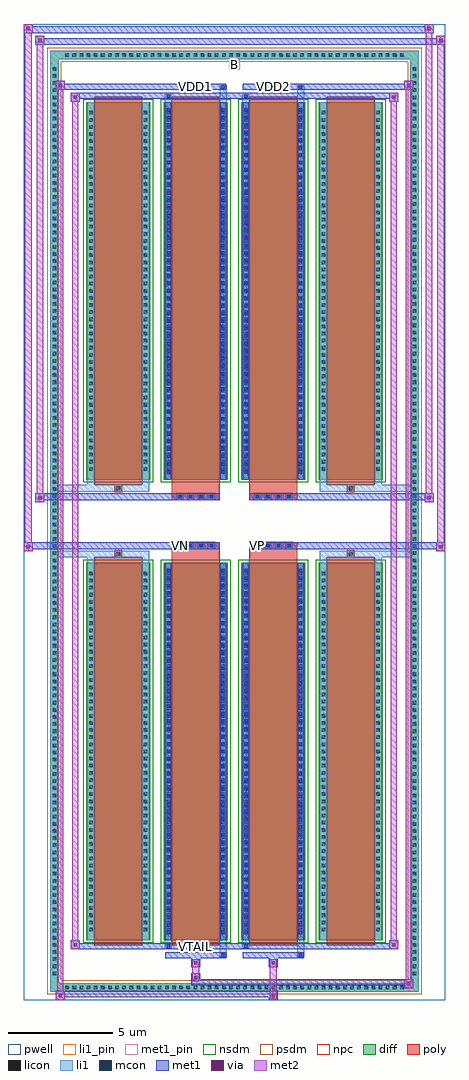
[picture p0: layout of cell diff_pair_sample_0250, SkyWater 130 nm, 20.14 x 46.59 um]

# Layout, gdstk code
import gdstk
lib = gdstk.Library(unit=1e-6, precision=5e-09)
def R(c, l, rs):  # rectangles x0, y0, x1, y1
    for r in rs: c.add(gdstk.rectangle(r[:2], r[2:], *l))
def A(c, l, x, y, w, h, nx, ny, dx, dy):  # array of equal rectangles
    R(c, l, [(x+i*dx, y+j*dy, x+i*dx+w, y+j*dy+h) for i in range(nx) for j in range(ny)])
def P(c, l, *ps):  # polygons
    for p in ps: c.add(gdstk.Polygon(p, *l))
pwell = (64, 44)
diff = (65, 20)
poly = (66, 20)
licon = (66, 44)
li1_pin = (67, 16)
li1 = (67, 20)
mcon = (67, 44)
met1_pin = (68, 16)
met1 = (68, 20)
via = (68, 44)
met2 = (69, 20)
nsdm = (93, 44)
psdm = (94, 20)
npc = (95, 20)

diff_pair_sample_0250 = lib.new_cell('diff_pair_sample_0250')
R(diff_pair_sample_0250, pwell, [(-10.07,-22.86,10.07,23.73), (-7.39,-21.05,-0.01,-0.805), (0.01,-21.05,7.39,-0.805), (-7.39,0.805,-0.01,21.05), (0.01,0.805,7.39,21.05)])
A(diff_pair_sample_0250, diff, -8.195, -22.46, 0.41, 0.41, 48, 2, 0.34, 44.51)
A(diff_pair_sample_0250, diff, -8.8, -21.795, 0.41, 0.41, 1, 128, 0, 0.34)
A(diff_pair_sample_0250, diff, 8.39, -21.795, 0.41, 0.41, 1, 128, 0, 0.34)
A(diff_pair_sample_0250, diff, -7.08, -20.005, 3.06, 18.02, 4, 2, 3.7, 21.99)
R(diff_pair_sample_0250, diff, [(-8.195,-22.46,8.195,-22.05), (-8.8,-21.795,-8.39,21.795), (8.39,-21.795,8.8,21.795), (-8.195,22.05,8.195,22.46)])
P(diff_pair_sample_0250, diff, [(8.8,22.46),(-8.8,22.46),(-8.8,-22.05),(-8.39,-22.05),(-8.39,22.05),(8.39,22.05),(8.39,-22.05),(-8.39,-22.05),(-8.8,-22.05),(-8.8,-22.46),(8.8,-22.46)])
A(diff_pair_sample_0250, poly, -6.69, -20.255, 2.28, 18.52, 4, 2, 3.7, 21.99)
A(diff_pair_sample_0250, poly, -2.765, -1.335, 0.33, 0.33, 4, 2, 0.5, 2.34)
A(diff_pair_sample_0250, poly, 0.935, -1.335, 0.33, 0.33, 4, 2, 0.5, 2.34)
R(diff_pair_sample_0250, poly, [(-5.715,-1.735,-5.385,-1.405), (-5.715,-1.735,-5.385,-1.405), (-2.99,-1.735,-0.71,-1.335), (0.71,-1.735,2.99,-1.335), (5.385,-1.735,5.715,-1.405), (5.385,-1.735,5.715,-1.405), (-2.99,-1.335,-0.71,-1.005), (0.71,-1.335,2.99,-1.005), (-2.99,1.005,-0.71,1.335), (0.71,1.005,2.99,1.335), (-2.99,1.335,-0.71,1.735), (0.71,1.335,2.99,1.735), (-5.715,1.405,-5.385,1.735), (-5.715,1.405,-5.385,1.735), (5.385,1.405,5.715,1.735), (5.385,1.405,5.715,1.735)])
A(diff_pair_sample_0250, licon, -8.075, -22.34, 0.17, 0.17, 48, 2, 0.34, 44.51)
A(diff_pair_sample_0250, licon, -8.68, -21.675, 0.17, 0.17, 1, 128, 0, 0.34)
A(diff_pair_sample_0250, licon, 8.51, -21.675, 0.17, 0.17, 1, 128, 0, 0.34)
A(diff_pair_sample_0250, licon, -6.94, -19.58, 0.17, 0.17, 1, 51, 0, 0.34)
A(diff_pair_sample_0250, licon, -4.33, -19.58, 0.17, 0.17, 1, 51, 0, 0.34)
A(diff_pair_sample_0250, licon, -3.24, -19.58, 0.17, 0.17, 1, 51, 0, 0.34)
A(diff_pair_sample_0250, licon, -0.63, -19.58, 0.17, 0.17, 1, 51, 0, 0.34)
A(diff_pair_sample_0250, licon, 0.46, -19.58, 0.17, 0.17, 1, 51, 0, 0.34)
A(diff_pair_sample_0250, licon, 3.07, -19.58, 0.17, 0.17, 1, 51, 0, 0.34)
A(diff_pair_sample_0250, licon, 4.16, -19.58, 0.17, 0.17, 1, 51, 0, 0.34)
A(diff_pair_sample_0250, licon, 6.77, -19.58, 0.17, 0.17, 1, 51, 0, 0.34)
A(diff_pair_sample_0250, licon, -2.685, -1.255, 0.17, 0.17, 4, 2, 0.5, 2.34)
A(diff_pair_sample_0250, licon, 1.015, -1.255, 0.17, 0.17, 4, 2, 0.5, 2.34)
A(diff_pair_sample_0250, licon, -6.94, 2.41, 0.17, 0.17, 1, 51, 0, 0.34)
A(diff_pair_sample_0250, licon, -4.33, 2.41, 0.17, 0.17, 1, 51, 0, 0.34)
A(diff_pair_sample_0250, licon, -3.24, 2.41, 0.17, 0.17, 1, 51, 0, 0.34)
A(diff_pair_sample_0250, licon, -0.63, 2.41, 0.17, 0.17, 1, 51, 0, 0.34)
A(diff_pair_sample_0250, licon, 0.46, 2.41, 0.17, 0.17, 1, 51, 0, 0.34)
A(diff_pair_sample_0250, licon, 3.07, 2.41, 0.17, 0.17, 1, 51, 0, 0.34)
A(diff_pair_sample_0250, licon, 4.16, 2.41, 0.17, 0.17, 1, 51, 0, 0.34)
A(diff_pair_sample_0250, licon, 6.77, 2.41, 0.17, 0.17, 1, 51, 0, 0.34)
R(diff_pair_sample_0250, licon, [(-5.635,-1.655,-5.465,-1.485), (5.465,-1.655,5.635,-1.485), (-5.635,1.485,-5.465,1.655), (5.465,1.485,5.635,1.655)])
R(diff_pair_sample_0250, li1_pin, [(-0.25,21.55,0.25,22.05)])
A(diff_pair_sample_0250, li1, -8.155, -22.42, 0.33, 0.33, 48, 2, 0.34, 44.51)
A(diff_pair_sample_0250, li1, -8.76, -21.755, 0.33, 0.33, 1, 128, 0, 0.34)
A(diff_pair_sample_0250, li1, 8.43, -21.755, 0.33, 0.33, 1, 128, 0, 0.34)
A(diff_pair_sample_0250, li1, -3.24, -19.72, 0.17, 0.17, 1, 49, 0, 0.36)
A(diff_pair_sample_0250, li1, -0.63, -19.72, 0.17, 0.17, 1, 49, 0, 0.36)
A(diff_pair_sample_0250, li1, 0.46, -19.72, 0.17, 0.17, 1, 49, 0, 0.36)
A(diff_pair_sample_0250, li1, 3.07, -19.72, 0.17, 0.17, 1, 49, 0, 0.36)
A(diff_pair_sample_0250, li1, -7.02, -19.66, 0.33, 0.33, 1, 51, 0, 0.34)
A(diff_pair_sample_0250, li1, -4.41, -19.66, 0.33, 0.33, 1, 51, 0, 0.34)
A(diff_pair_sample_0250, li1, -3.32, -19.66, 0.33, 0.33, 1, 51, 0, 0.34)
A(diff_pair_sample_0250, li1, -0.71, -19.66, 0.33, 0.33, 1, 51, 0, 0.34)
A(diff_pair_sample_0250, li1, 0.38, -19.66, 0.33, 0.33, 1, 51, 0, 0.34)
A(diff_pair_sample_0250, li1, 2.99, -19.66, 0.33, 0.33, 1, 51, 0, 0.34)
A(diff_pair_sample_0250, li1, 4.08, -19.66, 0.33, 0.33, 1, 51, 0, 0.34)
A(diff_pair_sample_0250, li1, 6.69, -19.66, 0.33, 0.33, 1, 51, 0, 0.34)
A(diff_pair_sample_0250, li1, -2.765, -1.335, 0.33, 0.33, 4, 2, 0.5, 2.34)
A(diff_pair_sample_0250, li1, 0.935, -1.335, 0.33, 0.33, 4, 2, 0.5, 2.34)
A(diff_pair_sample_0250, li1, -3.24, 2.27, 0.17, 0.17, 1, 49, 0, 0.36)
A(diff_pair_sample_0250, li1, -0.63, 2.27, 0.17, 0.17, 1, 49, 0, 0.36)
A(diff_pair_sample_0250, li1, 0.46, 2.27, 0.17, 0.17, 1, 49, 0, 0.36)
A(diff_pair_sample_0250, li1, 3.07, 2.27, 0.17, 0.17, 1, 49, 0, 0.36)
A(diff_pair_sample_0250, li1, -7.02, 2.33, 0.33, 0.33, 1, 51, 0, 0.34)
A(diff_pair_sample_0250, li1, -4.41, 2.33, 0.33, 0.33, 1, 51, 0, 0.34)
A(diff_pair_sample_0250, li1, -3.32, 2.33, 0.33, 0.33, 1, 51, 0, 0.34)
A(diff_pair_sample_0250, li1, -0.71, 2.33, 0.33, 0.33, 1, 51, 0, 0.34)
A(diff_pair_sample_0250, li1, 0.38, 2.33, 0.33, 0.33, 1, 51, 0, 0.34)
A(diff_pair_sample_0250, li1, 2.99, 2.33, 0.33, 0.33, 1, 51, 0, 0.34)
A(diff_pair_sample_0250, li1, 4.08, 2.33, 0.33, 0.33, 1, 51, 0, 0.34)
A(diff_pair_sample_0250, li1, 6.69, 2.33, 0.33, 0.33, 1, 51, 0, 0.34)
R(diff_pair_sample_0250, li1, [(-8.8,-22.46,-8.39,-22.05), (-8.8,-22.46,-8.39,-22.05), (-8.39,-22.46,8.39,-22.05), (8.39,-22.46,8.8,-22.05), (8.39,-22.46,8.8,-22.05), (-8.8,-22.05,-8.39,22.05), (8.39,-22.05,8.8,22.05), (-0.71,-20.81,-0.38,-20.005), (-0.63,-20.81,-0.46,-20.64), (2.99,-20.81,3.32,-20.005), (3.07,-20.81,3.24,-20.64), (-3.32,-20.38,-2.99,-20.005), (-3.24,-20.38,-3.07,-20.21), (0.38,-20.38,0.71,-20.005), (0.46,-20.38,0.63,-20.21), (-7.02,-20.005,-6.69,-1.985), (-4.41,-20.005,-4.08,-1.985), (-3.32,-20.005,-2.99,-1.985), (-0.71,-20.005,-0.38,-1.985), (0.38,-20.005,0.71,-1.985), (2.99,-20.005,3.32,-1.985), (4.08,-20.005,4.41,-1.985), (6.69,-20.005,7.02,-1.985), (-3.24,-19.72,-3.07,-2.27), (-0.63,-19.72,-0.46,-2.27), (0.46,-19.72,0.63,-2.27), (3.07,-19.72,3.24,-2.27), (-7.02,-1.985,-6.69,-1.405), (-4.41,-1.985,-4.08,-1.405), (4.08,-1.985,4.41,-1.405), (6.69,-1.985,7.02,-1.405), (-8.8,-1.735,-5.715,-1.405), (-7.02,-1.735,-5.715,-1.405), (-5.715,-1.735,-5.385,-1.405), (-5.385,-1.735,-4.08,-1.405), (4.08,-1.735,5.385,-1.405), (5.385,-1.735,5.715,-1.405), (5.385,-1.735,8.8,-1.405), (5.715,-1.735,7.02,-1.405), (-8.8,1.405,-5.715,1.735), (-7.02,1.405,-5.715,1.735), (-7.02,1.405,-6.69,1.985), (-5.715,1.405,-5.385,1.735), (-5.385,1.405,-4.08,1.735), (-4.41,1.405,-4.08,1.985), (4.08,1.405,5.385,1.735), (4.08,1.405,4.41,1.985), (5.385,1.405,5.715,1.735), (5.385,1.405,8.8,1.735), (5.715,1.405,7.02,1.735), (6.69,1.405,7.02,1.985), (-7.02,1.985,-6.69,20.005), (-4.41,1.985,-4.08,20.005), (-3.32,1.985,-2.99,20.005), (-0.71,1.985,-0.38,20.005), (0.38,1.985,0.71,20.005), (2.99,1.985,3.32,20.005), (4.08,1.985,4.41,20.005), (6.69,1.985,7.02,20.005), (-3.24,2.27,-3.07,19.72), (-0.63,2.27,-0.46,19.72), (0.46,2.27,0.63,19.72), (3.07,2.27,3.24,19.72), (-3.32,20.005,-2.99,20.38), (-0.71,20.005,-0.38,20.81), (0.38,20.005,0.71,20.38), (2.99,20.005,3.32,20.81), (-3.24,20.21,-3.07,20.38), (0.46,20.21,0.63,20.38), (-0.63,20.64,-0.46,20.81), (3.07,20.64,3.24,20.81), (-8.8,22.05,-8.39,22.46), (-8.8,22.05,-8.39,22.46), (-8.39,22.05,8.39,22.46), (8.39,22.05,8.8,22.46), (8.39,22.05,8.8,22.46)])
A(diff_pair_sample_0250, mcon, -3.24, -19.72, 0.17, 0.17, 1, 49, 0, 0.36)
A(diff_pair_sample_0250, mcon, -0.63, -19.72, 0.17, 0.17, 1, 49, 0, 0.36)
A(diff_pair_sample_0250, mcon, 0.46, -19.72, 0.17, 0.17, 1, 49, 0, 0.36)
A(diff_pair_sample_0250, mcon, 3.07, -19.72, 0.17, 0.17, 1, 49, 0, 0.36)
A(diff_pair_sample_0250, mcon, -2.685, -1.255, 0.17, 0.17, 4, 2, 0.5, 2.34)
A(diff_pair_sample_0250, mcon, 1.015, -1.255, 0.17, 0.17, 4, 2, 0.5, 2.34)
A(diff_pair_sample_0250, mcon, -3.24, 2.27, 0.17, 0.17, 1, 49, 0, 0.36)
A(diff_pair_sample_0250, mcon, -0.63, 2.27, 0.17, 0.17, 1, 49, 0, 0.36)
A(diff_pair_sample_0250, mcon, 0.46, 2.27, 0.17, 0.17, 1, 49, 0, 0.36)
A(diff_pair_sample_0250, mcon, 3.07, 2.27, 0.17, 0.17, 1, 49, 0, 0.36)
R(diff_pair_sample_0250, mcon, [(-0.63,-20.81,-0.46,-20.64), (3.07,-20.81,3.24,-20.64), (-3.24,-20.38,-3.07,-20.21), (0.46,-20.38,0.63,-20.21), (-3.24,20.21,-3.07,20.38), (0.46,20.21,0.63,20.38), (-0.63,20.64,-0.46,20.81), (3.07,20.64,3.24,20.81)])
R(diff_pair_sample_0250, met1_pin, [(-1.985,-20.42,-1.715,-20.15), (-2.735,-1.295,-2.465,-1.025), (0.965,-1.295,1.235,-1.025), (-1.985,20.6,-1.715,20.87), (1.715,20.6,1.985,20.87)])
A(diff_pair_sample_0250, met1, -3.3, -19.78, 0.29, 0.29, 1, 49, 0, 0.36)
A(diff_pair_sample_0250, met1, -0.69, -19.78, 0.29, 0.29, 1, 49, 0, 0.36)
A(diff_pair_sample_0250, met1, 0.4, -19.78, 0.29, 0.29, 1, 49, 0, 0.36)
A(diff_pair_sample_0250, met1, 3.01, -19.78, 0.29, 0.29, 1, 49, 0, 0.36)
A(diff_pair_sample_0250, met1, -2.745, -1.315, 0.29, 0.29, 4, 2, 0.5, 2.34)
A(diff_pair_sample_0250, met1, 0.955, -1.315, 0.29, 0.29, 4, 2, 0.5, 2.34)
A(diff_pair_sample_0250, met1, -3.3, 2.21, 0.29, 0.29, 1, 49, 0, 0.36)
A(diff_pair_sample_0250, met1, -0.69, 2.21, 0.29, 0.29, 1, 49, 0, 0.36)
A(diff_pair_sample_0250, met1, 0.4, 2.21, 0.29, 0.29, 1, 49, 0, 0.36)
A(diff_pair_sample_0250, met1, 3.01, 2.21, 0.29, 0.29, 1, 49, 0, 0.36)
R(diff_pair_sample_0250, met1, [(-8.53,-22.86,-8.1,-22.43), (1.635,-22.86,2.065,-22.43), (-8.53,-22.72,2.065,-22.43), (8.1,-22.29,8.53,-21.86), (-2.065,-22.15,8.53,-21.86), (-2.065,-22.01,-1.635,-21.58), (-2.065,-21.3,-1.635,-20.87), (1.635,-21.3,2.065,-20.87), (-3.3,-20.87,-0.4,-20.58), (-0.69,-20.87,-0.4,-20.58), (0.4,-20.87,3.3,-20.58), (3.01,-20.87,3.3,-20.58), (-7.82,-20.44,-7.39,-20.01), (-7.82,-20.44,-3.3,-20.15), (-3.3,-20.44,-3.01,-20.15), (-3.3,-20.44,-0.4,-20.15), (-0.4,-20.44,0.4,-20.15), (0.4,-20.44,0.69,-20.15), (0.4,-20.44,3.3,-20.15), (3.3,-20.44,7.82,-20.15), (7.39,-20.44,7.82,-20.01), (-3.3,-20.005,-3.01,-1.985), (-0.69,-20.005,-0.4,-1.985), (0.4,-20.005,0.69,-1.985), (3.01,-20.005,3.3,-1.985), (-10.07,-1.435,-9.64,-1.005), (9.64,-1.435,10.07,-1.005), (-10.07,-1.335,-0.71,-1.005), (-2.99,-1.335,-0.71,-1.005), (0.71,-1.335,2.99,-1.005), (0.71,-1.335,10.07,-1.005), (-9.5,0.905,-9.07,1.335), (9.07,0.905,9.5,1.335), (-9.5,1.005,-2.99,1.335), (-2.99,1.005,-0.71,1.335), (0.71,1.005,2.99,1.335), (2.99,1.005,9.5,1.335), (-3.3,1.985,-3.01,20.005), (-0.69,1.985,-0.4,20.005), (0.4,1.985,0.69,20.005), (3.01,1.985,3.3,20.005), (-7.82,20.01,-7.39,20.44), (7.39,20.01,7.82,20.44), (-7.82,20.15,-3.3,20.44), (-3.3,20.15,-3.01,20.44), (-3.3,20.15,-0.4,20.44), (-0.4,20.15,0.4,20.44), (0.4,20.15,0.69,20.44), (0.4,20.15,3.3,20.44), (3.3,20.15,7.82,20.44), (-8.53,20.58,-8.1,21.01), (-8.53,20.58,-3.3,20.87), (-3.3,20.58,-0.4,20.87), (-0.69,20.58,-0.4,20.87), (0.4,20.58,3.3,20.87), (3.01,20.58,3.3,20.87), (3.3,20.58,8.53,20.87), (8.1,20.58,8.53,21.01), (-9.5,22.73,-9.07,23.16), (-9.5,22.73,-7.39,23.06), (-7.39,22.73,7.39,23.06), (7.39,22.73,10.07,23.06), (9.64,22.73,10.07,23.16), (-10.07,23.3,-9.64,23.73), (-10.07,23.3,-7.39,23.63), (-7.39,23.3,7.39,23.63), (7.39,23.3,9.5,23.63), (9.07,23.3,9.5,23.73)])
R(diff_pair_sample_0250, via, [(-8.39,-22.72,-8.24,-22.57), (1.775,-22.72,1.925,-22.57), (8.24,-22.15,8.39,-22), (-1.925,-21.87,-1.775,-21.72), (-1.925,-21.16,-1.775,-21.01), (1.775,-21.16,1.925,-21.01), (-7.68,-20.3,-7.53,-20.15), (7.53,-20.3,7.68,-20.15), (-9.93,-1.295,-9.78,-1.145), (9.78,-1.295,9.93,-1.145), (-9.36,1.045,-9.21,1.195), (9.21,1.045,9.36,1.195), (-7.68,20.15,-7.53,20.3), (7.53,20.15,7.68,20.3), (-8.39,20.72,-8.24,20.87), (8.24,20.72,8.39,20.87), (-9.36,22.87,-9.21,23.02), (9.78,22.87,9.93,23.02), (-9.93,23.44,-9.78,23.59), (9.21,23.44,9.36,23.59)])
R(diff_pair_sample_0250, met2, [(-8.53,-22.86,-8.1,-22.43), (-8.46,-22.86,-8.17,21.01), (-8.17,-22.86,-8.1,-22.43), (-8.48,-22.81,-8.15,-22.48), (1.685,-22.81,2.015,-22.48), (1.685,-22.48,2.015,-21.25), (8.1,-22.29,8.53,-21.86), (8.17,-22.29,8.46,21.01), (8.46,-22.29,8.53,-21.86), (8.15,-22.24,8.48,-21.91), (-2.015,-21.96,-1.685,-21.63), (-2.015,-21.63,-1.685,-21.25), (-2.015,-21.25,-1.685,-20.92), (1.685,-21.25,2.015,-20.92), (-7.82,-20.44,-7.39,-20.01), (-7.75,-20.44,-7.46,20.44), (-7.46,-20.44,-7.39,-20.01), (7.39,-20.44,7.82,-20.01), (7.46,-20.44,7.75,20.44), (7.75,-20.44,7.82,-20.01), (-7.77,-20.39,-7.44,-20.06), (7.44,-20.39,7.77,-20.06), (-10.07,-1.435,-9.64,-1.005), (-10.02,-1.435,-9.69,23.73), (-9.69,-1.435,-9.64,-1.005), (9.64,-1.435,10.07,-1.005), (9.69,-1.435,10.02,23.16), (10.02,-1.435,10.07,-1.005), (-10.02,-1.385,-9.69,-1.055), (9.69,-1.385,10.02,-1.055), (-9.5,0.905,-9.07,1.335), (-9.45,0.905,-9.12,23.16), (-9.12,0.905,-9.07,1.335), (9.07,0.905,9.5,1.335), (9.12,0.905,9.45,23.73), (9.45,0.905,9.5,1.335), (-9.45,0.955,-9.12,1.285), (9.12,0.955,9.45,1.285), (-7.82,20.01,-7.39,20.44), (-7.46,20.01,-7.39,20.44), (7.39,20.01,7.82,20.44), (7.75,20.01,7.82,20.44), (-7.77,20.06,-7.44,20.39), (7.44,20.06,7.77,20.39), (-8.53,20.58,-8.1,21.01), (-8.17,20.58,-8.1,21.01), (8.1,20.58,8.53,21.01), (8.46,20.58,8.53,21.01), (-8.48,20.63,-8.15,20.96), (8.15,20.63,8.48,20.96), (-9.5,22.73,-9.07,23.16), (-9.12,22.73,-9.07,23.16), (9.64,22.73,10.07,23.16), (10.02,22.73,10.07,23.16), (-9.45,22.78,-9.12,23.11), (9.69,22.78,10.02,23.11), (-10.07,23.3,-9.64,23.73), (-9.69,23.3,-9.64,23.73), (9.07,23.3,9.5,23.73), (9.45,23.3,9.5,23.73), (-10.02,23.35,-9.69,23.68), (9.12,23.35,9.45,23.68)])
A(diff_pair_sample_0250, nsdm, -7.21, -20.135, 3.32, 18.28, 4, 2, 3.7, 21.99)
P(diff_pair_sample_0250, psdm, [(8.93,22.59),(-8.93,22.59),(-8.93,-21.92),(-8.26,-21.92),(-8.26,21.92),(8.26,21.92),(8.26,-21.92),(-8.26,-21.92),(-8.93,-21.92),(-8.93,-22.59),(8.93,-22.59)])
A(diff_pair_sample_0250, npc, -2.785, -1.355, 0.37, 0.37, 4, 2, 0.5, 2.34)
A(diff_pair_sample_0250, npc, 0.915, -1.355, 0.37, 0.37, 4, 2, 0.5, 2.34)
R(diff_pair_sample_0250, npc, [(-5.735,-1.755,-5.365,-1.385), (5.365,-1.755,5.735,-1.385), (-2.785,-1.355,-1.915,-0.985), (-2.785,-1.355,-1.915,-0.985), (-2.285,-1.355,-1.415,-0.985), (-2.285,-1.355,-1.415,-0.985), (-1.785,-1.355,-0.915,-0.985), (-1.785,-1.355,-0.915,-0.985), (0.915,-1.355,1.785,-0.985), (0.915,-1.355,1.785,-0.985), (1.415,-1.355,2.285,-0.985), (1.415,-1.355,2.285,-0.985), (1.915,-1.355,2.785,-0.985), (1.915,-1.355,2.785,-0.985), (-2.785,0.985,-1.915,1.355), (-2.785,0.985,-1.915,1.355), (-2.285,0.985,-1.415,1.355), (-2.285,0.985,-1.415,1.355), (-1.785,0.985,-0.915,1.355), (-1.785,0.985,-0.915,1.355), (0.915,0.985,1.785,1.355), (0.915,0.985,1.785,1.355), (1.415,0.985,2.285,1.355), (1.415,0.985,2.285,1.355), (1.915,0.985,2.785,1.355), (1.915,0.985,2.785,1.355), (-5.735,1.385,-5.365,1.755), (5.365,1.385,5.735,1.755)])
diff_pair_sample_0250.add(gdstk.Label('VTAIL', (-1.85,-20.285), layer=68, texttype=5))
diff_pair_sample_0250.add(gdstk.Label('VN', (-2.6,-1.16), layer=68, texttype=5))
diff_pair_sample_0250.add(gdstk.Label('VP', (1.1,-1.16), layer=68, texttype=5))
diff_pair_sample_0250.add(gdstk.Label('B', (0,21.8), layer=67, texttype=5))
diff_pair_sample_0250.add(gdstk.Label('VDD2', (1.85,20.735), layer=68, texttype=5))
diff_pair_sample_0250.add(gdstk.Label('VDD1', (-1.85,20.735), layer=68, texttype=5))

lib.write_gds('diff_pair_sample_0250.gds')
